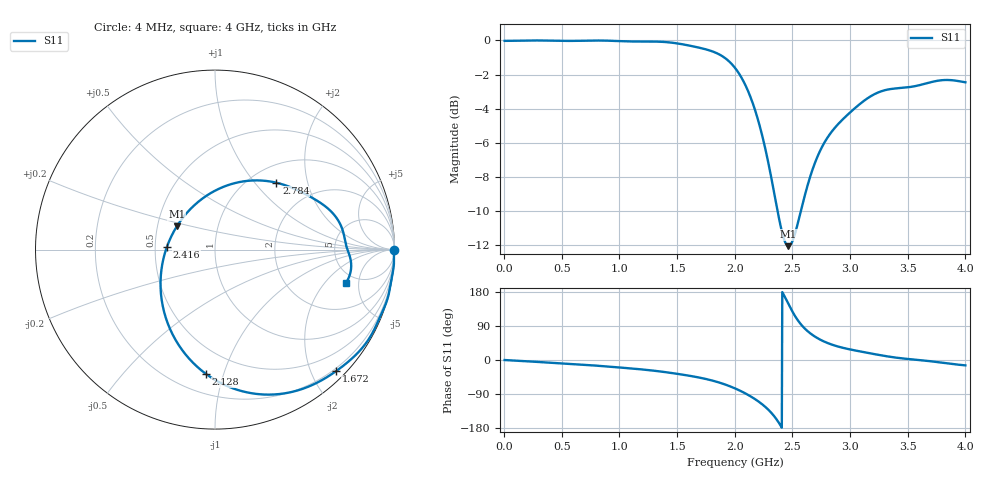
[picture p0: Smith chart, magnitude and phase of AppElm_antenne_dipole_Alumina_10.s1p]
! TOUCHSTONE file generated by CST MICROWAVE STUDIO
! Date and time: Sat May 14 10:03:02 2022
! Project name: AppElm_antenne_dipole_Alumina.cst
! Parameters = {L=33; e=0.035; f=2.45e+09; h=1.6; i=0.96; l1=2; lambda=122.449; ls=30; wl=1.7; ws=80}
! Header version: 2018
! Port assignment regex: !\s*Touchstone port\s*([0-9]+)\s*=\s*(CST MWS port|CST DS port)\s*([0-9]+|Zmin|Zmax)\s*\(\"(.*)\"\)(\s*mode\s*([0-9]+))?.*
! Touchstone port assignment:
! Touchstone port 1 = CST MWS port 1 ("")
# GHz S MA R 50
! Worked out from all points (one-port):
!   1000 points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, 4 MHz to 4 GHz, reference 50 ohm
!   lowest |S11| = -12.1 dB at 2.464 GHz (marker M1), VSWR 1.66, Z = 31.5 + j8.7 ohm
!   |S11| at or under -10 dB: 2.371 GHz to 2.574 GHz (202.8 MHz wide, 8.2 % of centre)
!   S11 on the Smith chart (normalised r, x): 4 MHz: open; 1.672 GHz: 0.15, -2.39; 2.128 GHz: 0.33, -0.87; 2.416 GHz: 0.58, +0.02; 2.784 GHz: 1.30, +1.30; 4 GHz: 4.05, -3.46
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0.004  0.9972 -0.1
0.504  0.9971 -9.0
1.004  0.9955 -19.8
1.3  0.9925 -28.3
1.504  0.9799 -36.6
1.672  0.9556 -45.2
1.764  0.9387 -51.1
1.844  0.9176 -57.5
1.932  0.8791 -66.4
2.004  0.8291 -75.2
2.068  0.7672 -84.4
2.128  0.6935 -94.3
2.212  0.5682 -110.9
2.28  0.4557 -128.0
2.348  0.3477 -150.7
2.416  0.2687 177.0
2.464  0.249 148.7
2.504  0.2595 125.6
2.568  0.3106 96.3
2.632  0.3761 76.0
2.7  0.4414 60.8
2.784  0.5059 47.4
2.88  0.5602 36.9
3.004  0.6165 27.6
3.252  0.7056 13.2
3.504  0.7288 2.6
3.788  0.764 -6.7
4  0.7536 -14.2
